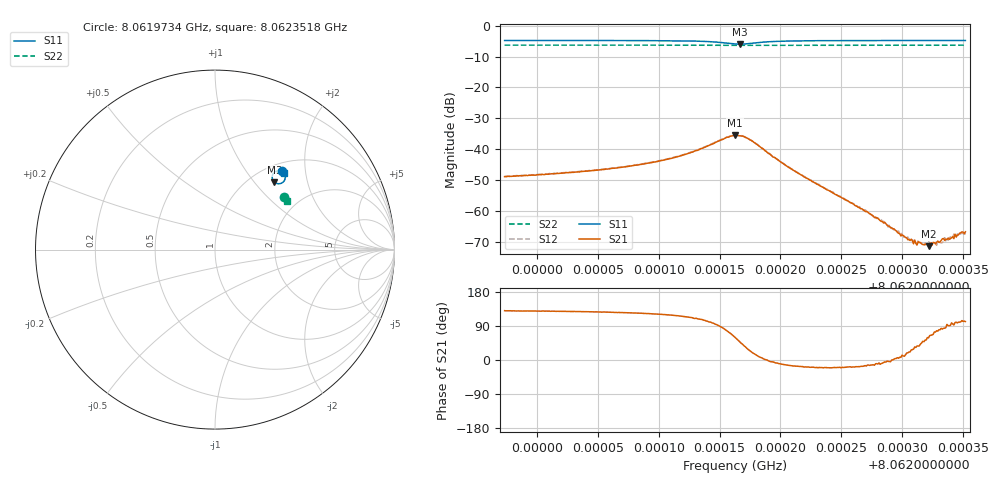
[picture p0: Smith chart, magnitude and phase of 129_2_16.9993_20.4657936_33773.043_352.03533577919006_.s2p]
#  HZ  S  RI  R  50.00
! Rohde & Schwarz Vector Network Analyzer
! Rohde-Schwarz,ZNB20-2Port,1311601062101988,3.16
! Created: UTC 3/20/2024, 10:57:52 PM
! freq[Hz]  re:S11  im:S11  re:S21  im:S21  re:S12  im:S12  re:S22  im:S22
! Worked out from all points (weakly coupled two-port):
!   401 points, 8.0619734 GHz to 8.0623518 GHz, reference 50 ohm
!   highest |S21| = -35.50 dB at 8.0621626 GHz (marker M1); lowest = -71.3 dB at 8.0623216 GHz (marker M2)
!   lowest |S11| = -6.0 dB at 8.0621664 GHz (marker M3), VSWR 3.01, Z = 63.7 + j63.9 ohm
!   |S11| at or under -10 dB: nowhere
!   |S22| runs from -6.4 to -6.3 dB; largest |S21 - S12| = 0.0013
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8.06197344e9  0.3747 0.4369  -0.00233 0.00276  -0.00218 0.00297  0.3863 0.2906
8.06203682e9  0.3805 0.4311  -0.00267 0.00346  -0.00251 0.00368  0.3887 0.2875
8.06207372e9  0.3845 0.4258  -0.00299 0.00431  -0.00279 0.00455  0.39 0.2856
8.0621002e9  0.3883 0.4193  -0.00331 0.00555  -0.003 0.00581  0.3909 0.2839
8.06212385e9  0.3914 0.408  -0.0034 0.00781  -0.00299 0.00811  0.3916 0.2822
8.0621475e9  0.3842 0.3812  -0.000805 0.0131  0.000184 0.0133  0.3916 0.2802
8.06216264e9  0.3443 0.3685  0.00851 0.0145  0.00946 0.0141  0.3902 0.2796
8.06216642e9  0.3314 0.3757  0.011 0.0124  0.012 0.0118  0.3898 0.2799
8.06217494e9  0.3187 0.4038  0.013 0.00583  0.0134 0.00507  0.39 0.281
8.06220521e9  0.3509 0.4397  0.00521 -0.00123  0.00519 -0.00155  0.3928 0.2806
8.06222602e9  0.3629 0.4392  0.00284 -0.000976  0.00284 -0.00117  0.394 0.2794
8.06226292e9  0.3731 0.4357  0.00114 -0.000366  0.00113 -0.000413  0.3955 0.2775
8.0622894e9  0.3774 0.4333  0.000571 -4.08e-05  0.000607 -6.51e-05  0.3965 0.2759
8.06229697e9  0.3783 0.4328  0.000439 3.64e-05  0.000476 2.89e-05  0.3969 0.2757
8.0623017e9  0.379 0.4323  0.000386 6.76e-05  0.000367 5.56e-05  0.397 0.2753
8.06231022e9  0.38 0.4318  0.000281 0.000193  0.000287 0.000148  0.3972 0.275
8.06231873e9  0.3809 0.4311  0.000175 0.000228  0.000223 0.000213  0.3974 0.2746
8.06232157e9  0.3813 0.4308  0.000142 0.000232  0.000146 0.000283  0.3976 0.2742
8.06233197e9  0.3823 0.4301  3.73e-05 0.000335  3.83e-05 0.000306  0.398 0.2738
8.06234049e9  0.3831 0.4295  -5.29e-05 0.00037  1.21e-05 0.000365  0.3982 0.2733
8.06234806e9  0.3837 0.429  -8.37e-05 0.000441  -7.08e-05 0.000431  0.3983 0.2729
8.06235184e9  0.3841 0.4288  -9.21e-05 0.000455  -9.51e-05 0.000443  0.3986 0.2728
